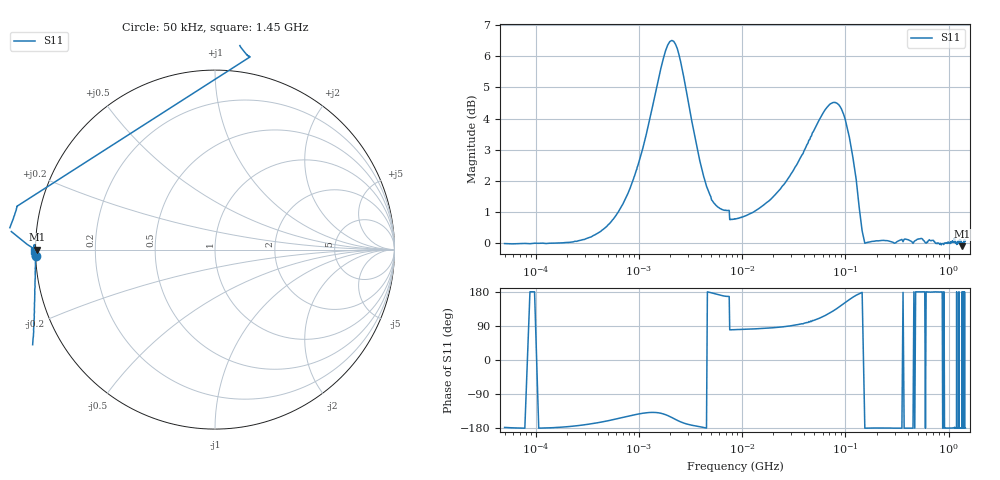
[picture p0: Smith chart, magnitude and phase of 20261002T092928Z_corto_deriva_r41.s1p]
! piloto_deriva / corto_deriva / r41
# HZ S RI R 50
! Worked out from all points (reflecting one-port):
!   501 points, 50 kHz to 1.45 GHz, reference 50 ohm
!   lowest |S11| = -0.1 dB at 1.351 GHz (marker M1), VSWR 181.72, Z = 0.275 - j0.0264 ohm
!   phase of S11 starts at -178 deg and turns -2 deg over the sweep
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50000  -0.9979 -0.0364
183000  -1 -0.0532
363500  -1.004 -0.2248
658000  -1.015 -0.5106
1180000  -1.135 -0.9762
1630000  -1.472 -1.213
1990000  -1.809 -1.08
2440000  -1.901 -0.644
3070000  -1.633 -0.2702
4330000  -1.264 -0.0293
7300000  -1.102 0.2415
7750000  0.1941 1.074
8560000  0.1872 1.079
1.9e7  0.1079 1.172
3.16e7  -0.0353 1.312
4.51e7  -0.2578 1.444
5.68e7  -0.5717 1.481
6.76e7  -0.8608 1.417
7.93e7  -1.139 1.238
9.37e7  -1.355 0.8995
9.82e7  -1.385 0.7845
1e8  -1.39 0.738
1.18e8  -1.33 0.3389
1.36e8  -1.135 0.1005
1.63e8  -1.003 -0.0043
4.06e8  -1.013 -0.0032
1.351e9  -0.9891 -0.00104
1.45e9  -1.01 -0.0101
